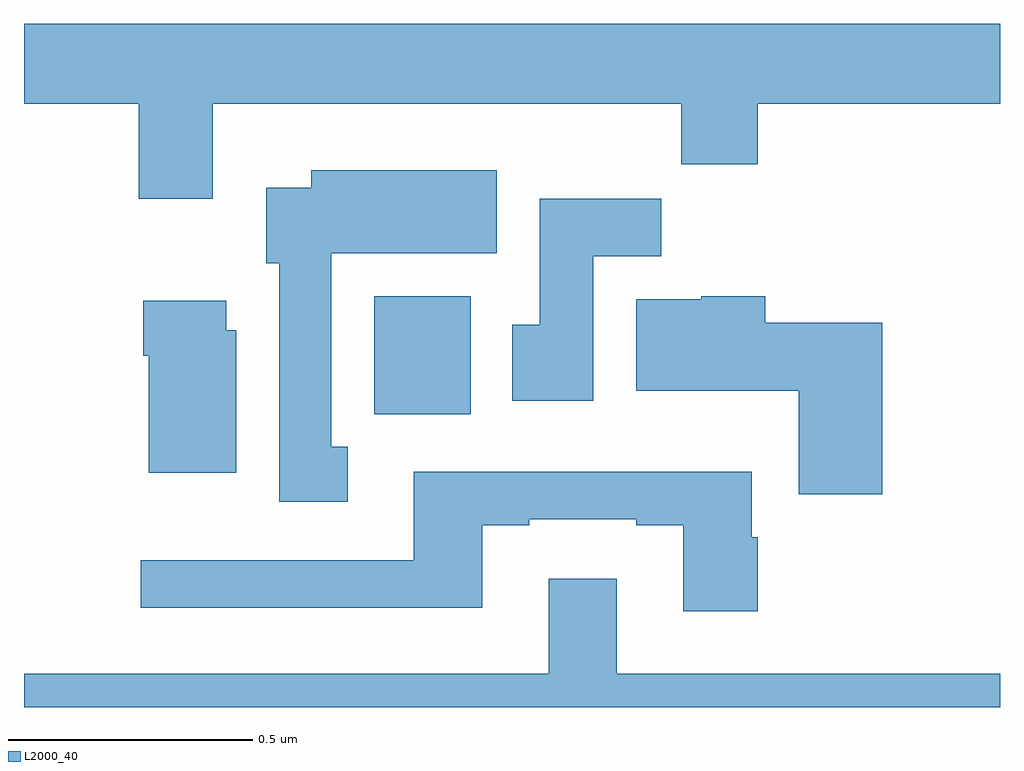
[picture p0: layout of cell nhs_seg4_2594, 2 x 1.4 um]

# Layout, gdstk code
import gdstk
lib = gdstk.Library(unit=1e-6, precision=1e-09)
def R(c, l, rs):  # rectangles x0, y0, x1, y1
    for r in rs: c.add(gdstk.rectangle(r[:2], r[2:], *l))
def P(c, l, *ps):  # polygons
    for p in ps: c.add(gdstk.Polygon(p, *l))
L2000_40 = (2000, 40)

nhs_seg4_2594 = lib.new_cell('nhs_seg4_2594')
R(nhs_seg4_2594, L2000_40, [(142.718,813.5,142.915,813.742)])
P(nhs_seg4_2594, L2000_40, [(142.387,814.136),(143.347,814.136),(143.347,814.012),(143.504,814.012),(143.504,814.136),(144,814.136),(144,814.3),(142,814.3),(142,814.136),(142.235,814.136),(142.235,813.942),(142.387,813.942)],
  [(142.663,813.434),(142.63,813.434),(142.63,813.83),(142.969,813.83),(142.969,814),(142.589,814),(142.589,813.964),(142.496,813.964),(142.496,813.81),(142.523,813.81),(142.523,813.321),(142.663,813.321)],
  [(143.167,813.824),(143.306,813.824),(143.306,813.942),(143.057,813.942),(143.057,813.684),(143,813.684),(143,813.528),(143.167,813.528)],
  [(143.759,813.688),(143.519,813.688),(143.519,813.742),(143.388,813.742),(143.388,813.736),(143.255,813.736),(143.255,813.548),(143.588,813.548),(143.588,813.336),(143.759,813.336)],
  [(142.435,813.672),(142.414,813.672),(142.414,813.733),(142.244,813.733),(142.244,813.62),(142.256,813.62),(142.256,813.38),(142.435,813.38)],
  [(143.504,813.248),(143.491,813.248),(143.491,813.382),(142.799,813.382),(142.799,813.201),(142.239,813.201),(142.239,813.104),(142.939,813.104),(142.939,813.273),(143.035,813.273),(143.035,813.285),(143.255,813.285),(143.255,813.273),(143.351,813.273),(143.351,813.096),(143.504,813.096)],
  [(144,812.968),(143.215,812.968),(143.215,813.163),(143.075,813.163),(143.075,812.968),(142,812.968),(142,812.9),(144,812.9)])

lib.write_gds('nhs_seg4_2594.gds')
